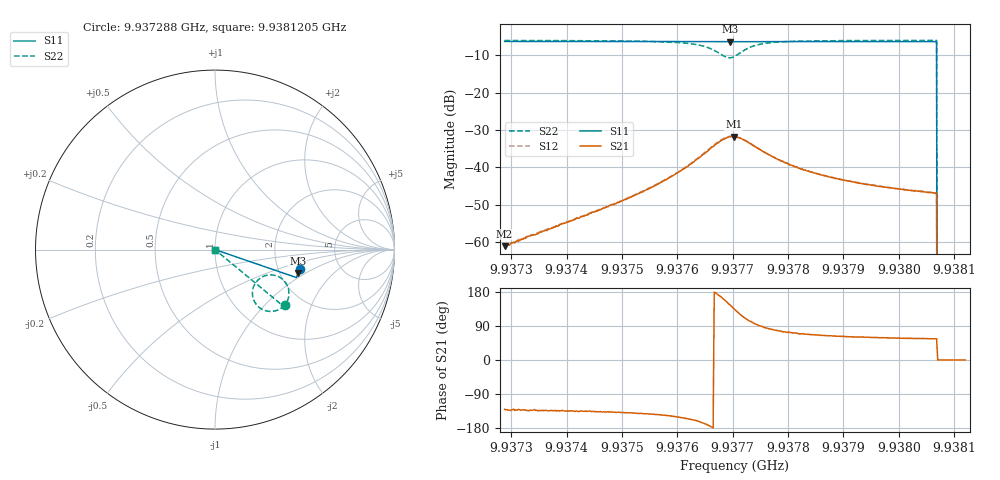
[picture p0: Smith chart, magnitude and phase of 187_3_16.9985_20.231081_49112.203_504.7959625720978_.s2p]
#  HZ  S  RI  R  50.00
! Rohde & Schwarz Vector Network Analyzer
! Rohde-Schwarz,ZNB20-2Port,1311601062101988,3.16
! Created: UTC 3/20/2024, 11:00:25 PM
! freq[Hz]  re:S11  im:S11  re:S21  im:S21  re:S12  im:S12  re:S22  im:S22
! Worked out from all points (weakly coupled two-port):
!   401 points, 9.937288 GHz to 9.9381205 GHz, reference 50 ohm
!   highest |S21| = -31.79 dB at 9.9377022 GHz (marker M1); lowest = -61.1 dB at 9.937288 GHz (marker M2)
!   lowest |S11| = -6.4 dB at 9.9376959 GHz (marker M3), VSWR 2.84, Z = 125 - j42.6 ohm
!   |S11| at or under -10 dB: 9.9380685 GHz to end of sweep
!   |S22| runs from - to -6.0 dB; largest |S21 - S12| = 0.0013
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9.93728804e9  0.4718 -0.1058  -0.000567 -0.000679  -0.000599 -0.000646  0.3897 -0.3096
9.93742747e9  0.469 -0.1152  -0.00154 -0.00155  -0.00158 -0.00153  0.3746 -0.3225
9.93750448e9  0.4673 -0.1202  -0.00279 -0.00243  -0.00281 -0.00241  0.3599 -0.3316
9.93756691e9  0.4657 -0.1246  -0.00495 -0.00355  -0.00511 -0.00352  0.3382 -0.3406
9.93761061e9  0.4643 -0.1277  -0.00836 -0.0043  -0.00861 -0.00428  0.3073 -0.3446
9.93765016e9  0.4626 -0.1302  -0.0153 -0.00299  -0.0157 -0.00274  0.2519 -0.3264
9.93766472e9  0.4616 -0.1311  -0.019 -0.000316  -0.0195 0.000251  0.2249 -0.2985
9.93767721e9  0.461 -0.1312  -0.0219 0.00433  -0.0223 0.00515  0.2092 -0.2564
9.93768762e9  0.4607 -0.1314  -0.0224 0.0101  -0.0225 0.0111  0.2136 -0.2099
9.93769594e9  0.4605 -0.1312  -0.0209 0.0148  -0.0207 0.0161  0.2346 -0.1745
9.93770218e9  0.4605 -0.1312  -0.0183 0.0181  -0.018 0.0188  0.2587 -0.1548
9.93770427e9  0.4607 -0.1313  -0.0174 0.0187  -0.0169 0.0197  0.2679 -0.15
9.93771467e9  0.461 -0.1317  -0.0119 0.0213  -0.0112 0.0218  0.3144 -0.1409
9.93772716e9  0.4613 -0.1323  -0.00594 0.0209  -0.00532 0.0213  0.3594 -0.1533
9.93775213e9  0.4617 -0.1342  0.00036 0.0167  0.000767 0.0167  0.4014 -0.1974
9.9378e9  0.4611 -0.138  0.00311 0.0107  0.00345 0.0106  0.4121 -0.2515
9.9378437e9  0.4599 -0.141  0.00334 0.00785  0.00357 0.00787  0.4072 -0.2757
9.93790406e9  0.4584 -0.1452  0.00314 0.00587  0.00326 0.00586  0.3997 -0.2936
9.93798314e9  0.4567 -0.1505  0.0028 0.00453  0.0029 0.0045  0.3912 -0.3077
9.9380643e9  0.4544 -0.1558  0.00253 0.00373  0.00262 0.00376  0.3839 -0.3173
9.93807471e9  0 0  0 0  0 0  0 0
9.9381205e9  0 0  0 0  0 0  0 0
